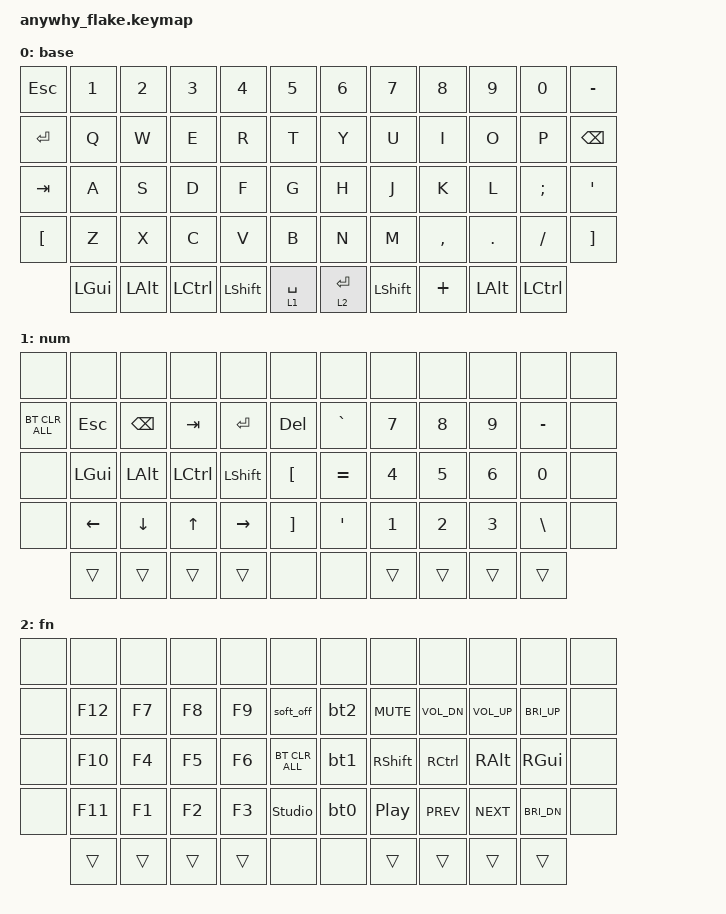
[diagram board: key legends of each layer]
#include <behaviors.dtsi>
#include <dt-bindings/zmk/bt.h>
#include <dt-bindings/zmk/keys.h>

/ {
    combos {
        compatible = "zmk,combos";

        bt_sel_3 {
            bindings = <&bt3>;
            key-positions = <42 30>;
            layers = <2>;
        };

        bt_sel_4 {
            bindings = <&bt4>;
            key-positions = <30 18>;
            layers = <2>;
        };

        BS {
            bindings = <&kp BACKSPACE>;
            key-positions = <3 15>;
        };

        Lng {
            bindings = <&kp LC(SPACE)>;
            key-positions = <5 17>;
        };
    };

    macros {
        bt_clr_0: bt_clr_0 {
            compatible = "zmk,behavior-macro";
            #binding-cells = <0>;
            bindings = <&bt BT_SEL 0 &bt BT_CLR>;
            label = "BT_CLR_0";
        };

        bt_clr_1: bt_clr_1 {
            compatible = "zmk,behavior-macro";
            #binding-cells = <0>;
            bindings = <&bt BT_SEL 1 &bt BT_CLR>;
            label = "BT_CLR_1";
        };

        bt_clr_2: bt_clr_2 {
            compatible = "zmk,behavior-macro";
            #binding-cells = <0>;
            bindings = <&bt BT_SEL 2 &bt BT_CLR>;
            label = "BT_CLR_2";
        };

        bt_clr_3: bt_clr_3 {
            compatible = "zmk,behavior-macro";
            #binding-cells = <0>;
            bindings = <&bt BT_SEL 3 &bt BT_CLR>;
            label = "BT_CLR_3";
        };

        bt_clr_4: bt_clr_4 {
            compatible = "zmk,behavior-macro";
            #binding-cells = <0>;
            bindings = <&bt BT_SEL 4 &bt BT_CLR>;
            label = "BT_CLR_4";
        };
    };

    behaviors {
        bt0: bt0 {
            compatible = "zmk,behavior-mod-morph";
            label = "BT0";
            bindings = <&bt BT_SEL 0>, <&bt_clr_0>;

            #binding-cells = <0>;
            mods = <(MOD_LSFT|MOD_RSFT)>;
        };

        bt1: bt1 {
            compatible = "zmk,behavior-mod-morph";
            label = "BT1";
            bindings = <&bt BT_SEL 1>, <&bt_clr_1>;

            #binding-cells = <0>;
            mods = <(MOD_LSFT|MOD_RSFT)>;
        };

        bt2: bt2 {
            compatible = "zmk,behavior-mod-morph";
            label = "BT2";
            bindings = <&bt BT_SEL 2>, <&bt_clr_2>;

            #binding-cells = <0>;
            mods = <(MOD_LSFT|MOD_RSFT)>;
        };

        bt3: bt3 {
            compatible = "zmk,behavior-mod-morph";
            label = "BT3";
            bindings = <&bt BT_SEL 3>, <&bt_clr_3>;

            #binding-cells = <0>;
            mods = <(MOD_LSFT|MOD_RSFT)>;
        };

        bt4: bt4 {
            compatible = "zmk,behavior-mod-morph";
            label = "BT4";
            bindings = <&bt BT_SEL 4>, <&bt_clr_4>;

            #binding-cells = <0>;
            mods = <(MOD_LSFT|MOD_RSFT)>;
        };
    };

    keymap {
        compatible = "zmk,keymap";

        base {
            bindings = <
&kp ESC    &kp N1    &kp N2    &kp N3     &kp N4          &kp N5         &kp N6       &kp N7     &kp N8     &kp N9    &kp N0     &kp MINUS
&kp ENTER  &kp Q     &kp W     &kp E      &kp R           &kp T          &kp Y        &kp U      &kp I      &kp O     &kp P      &kp BSPC
&kp TAB    &kp A     &kp S     &kp D      &kp F           &kp G          &kp H        &kp J      &kp K      &kp L     &kp SEMI   &kp APOS
&kp LBKT   &kp Z     &kp X     &kp C      &kp V           &kp B          &kp N        &kp M      &kp COMMA  &kp DOT   &kp FSLH   &kp RBKT
           &kp LGUI  &kp LALT  &kp LCTRL  &kp LEFT_SHIFT  &lt 1 SPACE    &lt 2 ENTER  &kp LSHFT  &kp PLUS   &kp LALT  &kp LCTRL
            >;
        };

        num {
            bindings = <
&none           &none     &none          &none      &none      &none       &none      &none   &none   &none   &none      &none
&bt BT_CLR_ALL  &kp ESC   &kp BACKSPACE  &kp TAB    &kp ENTER  &kp DEL     &kp GRAVE  &kp N7  &kp N8  &kp N9  &kp MINUS  &none
&none           &kp LGUI  &kp LALT       &kp LCTRL  &kp LSHFT  &kp LBKT    &kp EQUAL  &kp N4  &kp N5  &kp N6  &kp N0     &none
&none           &kp LEFT  &kp DOWN       &kp UP     &kp RIGHT  &kp RBKT    &kp SQT    &kp N1  &kp N2  &kp N3  &kp BSLH   &none
                &trans    &trans         &trans     &trans     &none       &none      &trans  &trans  &trans  &trans
            >;
        };

        fn {
            bindings = <
&none  &none    &none   &none   &none   &none             &none  &none       &none         &none         &none         &none
&none  &kp F12  &kp F7  &kp F8  &kp F9  &soft_off         &bt2   &kp C_MUTE  &kp C_VOL_DN  &kp C_VOL_UP  &kp C_BRI_UP  &none
&none  &kp F10  &kp F4  &kp F5  &kp F6  &bt BT_CLR_ALL    &bt1   &kp RSHFT   &kp RCTRL     &kp RALT      &kp RGUI      &none
&none  &kp F11  &kp F1  &kp F2  &kp F3  &studio_unlock    &bt0   &kp C_PP    &kp C_PREV    &kp C_NEXT    &kp C_BRI_DN  &none
       &trans   &trans  &trans  &trans  &none             &none  &trans      &trans        &trans        &trans
            >;
        };
    };
};
